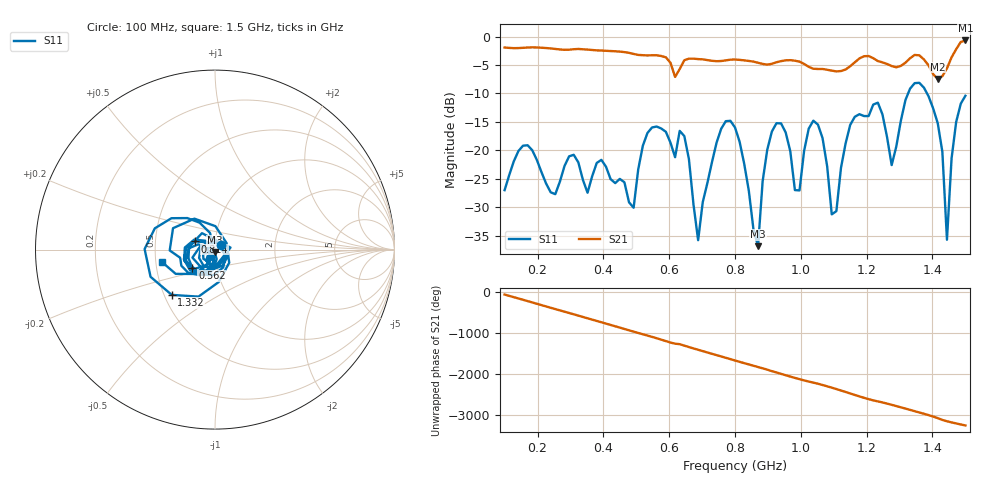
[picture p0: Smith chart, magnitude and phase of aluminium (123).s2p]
! NanoVNA-App
! Date: 2025-09-25 14:56:14
! Start: 100MHz Stop: 1,5GHz Points: 101
! S-Parameter data: F S11 S21 S12 S22
# Hz S RI R 50
!  Frequency  S11_Real  S11_Imag  S21_Real  S21_Imag  S12_Real  S12_Imag  S22_Real  S22_Imag
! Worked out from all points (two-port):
!   101 points, 100 MHz to 1.5 GHz, reference 50 ohm
!   highest |S21| = -0.68 dB at 1.5 GHz (marker M1); lowest = -7.5 dB at 1.416 GHz (marker M2)
!   |S21| within 3 dB of the highest: start of sweep to 590.5 MHz; 1.458 GHz to end of sweep (the widest 2 of 4)
!   lowest |S11| = -36.9 dB at 870 MHz (marker M3), VSWR 1.03, Z = 49.8 - j1.42 ohm
!   |S11| at or under -10 dB: start of sweep to 1.326 GHz; 1.383 GHz to end of sweep
!   S12 and S22 are empty: the file has one direction only
!   S11 on the Smith chart (normalised r, x): 100 MHz: 1.07, +0.06; 562 MHz: 0.76, -0.16; 814 MHz: 0.80, +0.07; 1.332 GHz: 0.55, -0.31; 1.5 GHz: 0.54, -0.08
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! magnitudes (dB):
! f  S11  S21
! 100 MHz  -27.0  -1.9
! 338 MHz  -25.2  -2.2
! 492 MHz  -30.1  -3.1
! 562 MHz  -15.8  -3.3
! 576 MHz  -16.2  -3.4
! 646 MHz  -17.5  -4.2
! 688 MHz  -35.8  -4.0
! 800 MHz  -16.0  -4.0
! 814 MHz  -18.5  -4.1
! 870 MHz  -36.9  -4.6
! 912 MHz  -16.7  -4.8
! 996 MHz  -27.0  -4.4
! 1.038 GHz  -14.8  -5.7
! 1.094 GHz  -31.3  -6.0
! 1.164 GHz  -14.1  -4.5
! 1.234 GHz  -11.6  -4.3
! 1.276 GHz  -22.6  -5.2
! 1.332 GHz  -9.1  -3.8
! 1.416 GHz  -15.2  -7.5
! 1.444 GHz  -35.7  -5.6
! 1.472 GHz  -15.0  -2.2
! 1.5 GHz  -10.4  -0.7
